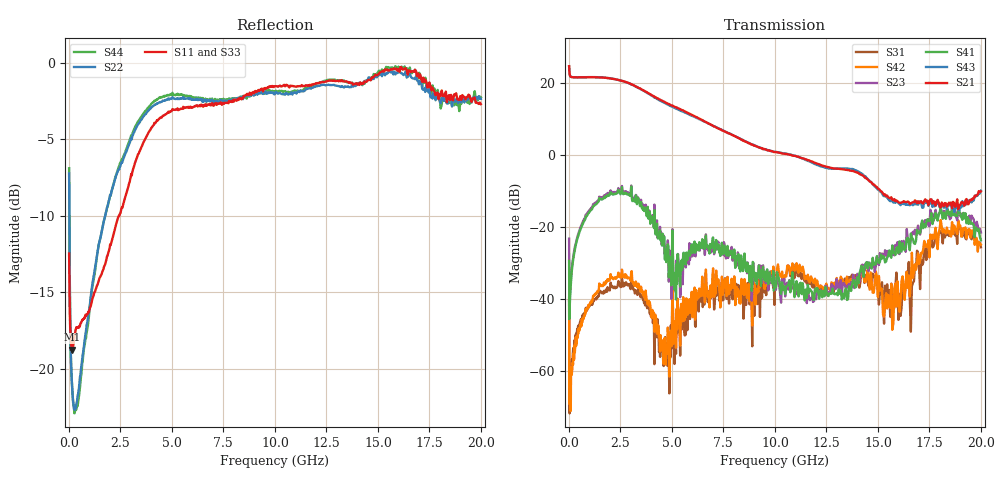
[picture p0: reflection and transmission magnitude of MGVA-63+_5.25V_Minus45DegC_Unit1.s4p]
!Mini-Circuits Laboratory
!S-Parameters
!Model: MGVA-63+
!Run / Lot / Date Code: NA / AH404P001-04 / 1348
!Fixture: NA; TB-561+
!AUTO PORT EXTENSION DONE: PORT<1>=113.62ps; PORT<2>=112.79ps; PORT<3>=112.29ps; PORT<4>=112.3ps
!Network Analyzer: PNA-X N5242A - 423 4 ports;  Serial number: 71256
!Date: 2/10/20114
!S/N: Unit# 1
!Correction: S11(Full 4 Port(1,2,3,4))
!S12(Full 4 Port(1,2,3,4))
!S13(Full 4 Port(1,2,3,4))
!S14(Full 4 Port(1,2,3,4))
!S21(Full 4 Port(1,2,3,4))
!S22(Full 4 Port(1,2,3,4))
!S23(Full 4 Port(1,2,3,4))
!S24(Full 4 Port(1,2,3,4))
!S31(Full 4 Port(1,2,3,4))
!S32(Full 4 Port(1,2,3,4))
!S33(Full 4 Port(1,2,3,4))
!S34(Full 4 Port(1,2,3,4))
!S41(Full 4 Port(1,2,3,4))
!S42(Full 4 Port(1,2,3,4))
!S43(Full 4 Port(1,2,3,4))
!S44(Full 4 Port(1,2,3,4))
!S4P File: Measurements: <S11,S12,S13,S14>,
!<S21,S22,S23,S24>,
!<S31,S32,S33,S34>,
!<S41,S42,S43,S44>:
# Hz S  dB  R 50
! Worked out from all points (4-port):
!   660 points, 10 MHz to 20 GHz, reference 50 ohm
!   strongest paths, dB at 10 MHz, 2.65 GHz, 6.775 GHz, 11.8 GHz, 20 GHz:
!     S21: 24.7, 20.5, 8.8, -1.8, -10.1
!     S43: 24.7, 20.5, 8.7, -2.1, -10.0
!     S41: -29.5, -10.9, -25.5, -38.1, -23.7
!     S23: -23.3, -10.5, -26.7, -39.5, -21.6
!     S42: -39.8, -33.9, -38.7, -34.4, -24.9
!     S31: -40.5, -36.6, -39.0, -36.6, -25.7
!   lowest |S11| = -18.8 dB at 160 MHz (marker M1), VSWR 1.26, Z = 39.7 - j1.43 ohm
!   |S11| at or under -10 dB: start of sweep to 2.422 GHz; 2.447108 GHz to 2.450119 GHz (3.011 MHz wide, 0.123 % of centre)
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1e7  -12.46 -55.3  -29.11 28.2  -34.61 102.3  -46.54 90.0
     24.73 168.8  -7.22 -31.1  -23.29 116.0  -35.52 104.9
     -40.51 -166.7  -50.72 -163.3  -11.96 -50.5  -27.85 25.4
     -29.48 -172.2  -39.79 -166.6  24.66 168.3  -6.88 -29.7
1.6e8  -18.75 -171.2  -24.77 0.2  -55.16 80.3  -74.47 83.6
       21.67 169.7  -21.31 -58.5  -30.48 72.0  -59.02 89.8
       -56.88 79.5  -69.84 134.9  -18.76 -170.3  -24.73 0.4
       -31.19 73.1  -59.82 92.6  21.67 169.9  -21.31 -57.5
1.775e9  -13.10 124.7  -23.76 -30.8  -37.77 37.1  -62.33 85.7
         21.50 97.8  -9.90 162.7  -11.33 -34.5  -35.28 45.2
         -38.12 44.0  -64.07 100.3  -12.77 126.3  -23.82 -32.0
         -11.67 -30.5  -35.88 52.4  21.52 97.0  -9.92 160.2
3.15e9  -6.80 87.1  -23.90 -67.9  -36.95 -37.4  -55.33 43.4
        19.40 28.7  -4.57 89.3  -11.96 -147.7  -35.11 -44.1
        -37.50 -28.5  -57.10 57.9  -6.60 83.4  -24.06 -70.1
        -12.45 -143.1  -36.06 -36.4  19.35 26.7  -4.38 88.4
5.375e9  -3.04 37.1  -27.02 -111.8  -47.44 -111.3  -56.07 -24.3
         12.81 -55.6  -2.36 27.0  -32.98 -106.0  -46.51 -96.2
         -49.45 -90.0  -59.91 -4.9  -2.83 28.8  -27.62 -113.9
         -32.88 -90.7  -46.35 -70.9  12.45 -57.0  -2.07 31.7
8.1e9  -2.44 10.5  -29.63 -136.3  -36.30 -129.5  -40.45 -65.4
       5.12 -135.1  -2.36 -0.0  -28.28 111.1  -36.70 -143.1
       -37.43 -121.9  -41.26 -81.5  -2.52 0.7  -30.05 -137.8
       -28.69 120.0  -37.88 -145.7  5.09 -137.4  -2.38 5.0
2e10  -2.69 -103.0  -35.42 -147.3  -25.19 -31.2  -20.72 -168.3
      -10.14 12.1  -2.34 -117.1  -21.55 -179.7  -26.00 -44.9
      -25.67 -40.2  -18.98 179.5  -2.82 -119.3  -28.08 -65.3
      -23.74 -166.1  -24.94 -38.8  -9.95 3.7  -2.25 -110.5
